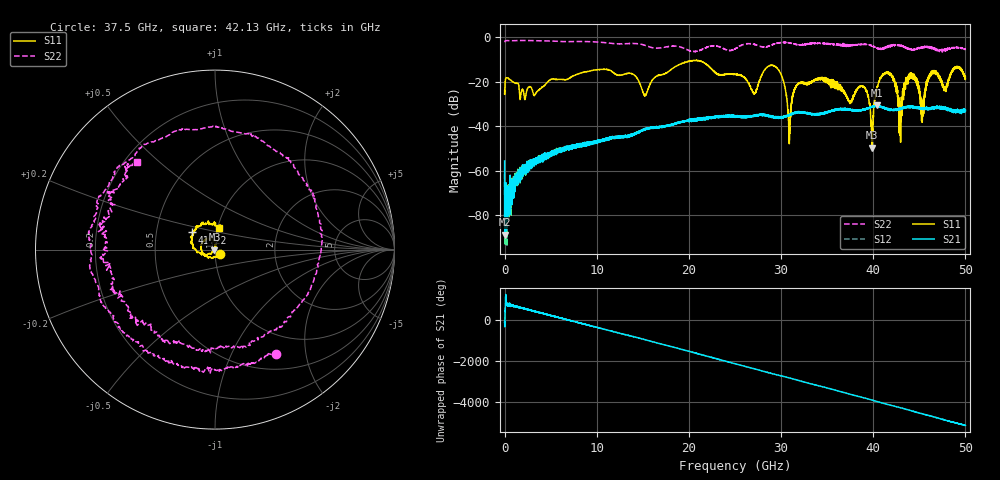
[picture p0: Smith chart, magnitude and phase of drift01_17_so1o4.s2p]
!Created with skrf (http://scikit-rf.org).
# Hz S RI R 50.0
!freq ReS11 ImS11 ReS21 ImS21 ReS12 ImS12 ReS22 ImS22
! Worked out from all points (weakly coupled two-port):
!   10001 points, 300 kHz to 50 GHz, reference 50 ohm
!   highest |S21| = -30.59 dB at 40.42 GHz (marker M1); lowest = -88.6 dB at 40.3 MHz (marker M2)
!   lowest |S11| = -49.5 dB at 39.88 GHz (marker M3), VSWR 1.01, Z = 49.7 - j0.0698 ohm
!   |S11| at or under -10 dB: start of sweep to end of sweep
!   |S22| runs from -6.6 to -1.4 dB; largest |S21 - S12| = 0.0042
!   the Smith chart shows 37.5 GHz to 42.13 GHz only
!   S11 on the Smith chart (normalised r, x): 37.5 GHz: 1.06, -0.05; 41.22 GHz: 0.76, +0.15; 42.13 GHz: 1.01, +0.25
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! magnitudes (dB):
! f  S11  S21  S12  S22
! 300 kHz  -23.9  -55.6  -61.3  -2.1
! 40.3 MHz  -21.4  -88.6  -76.7  -1.7
! 8.335 GHz  -15.9  -48.7  -47.9  -1.8
! 16.67 GHz  -17.0  -40.4  -40.4  -4.8
! 25 GHz  -16.6  -35.2  -35.4  -5.1
! 27.1 GHz  -25.4  -35.1  -35.3  -3.1
! 29.41 GHz  -13.1  -36.2  -36.0  -2.7
! 30.91 GHz  -46.1  -34.9  -35.0  -2.5
! 31.66 GHz  -21.7  -33.6  -33.7  -3.1
! 33.34 GHz  -19.8  -34.5  -34.4  -2.6
! 37.5 GHz  -28.9  -32.2  -32.5  -3.4
! 38.95 GHz  -22.1  -32.4  -32.5  -3.1
! 39.88 GHz  -49.5  -31.2  -31.1  -3.7
! 40.42 GHz  -22.2  -30.6  -30.9  -4.8
! 41.22 GHz  -16.0  -31.8  -31.7  -4.5
! 41.67 GHz  -16.2  -32.4  -32.4  -4.2
! 42.13 GHz  -18.1  -32.7  -32.6  -3.7
! 42.92 GHz  -33.4  -32.2  -32.1  -3.6
! 44.07 GHz  -15.9  -31.6  -31.1  -5.3
! 45.31 GHz  -36.3  -31.9  -31.9  -4.4
! 46.41 GHz  -14.9  -31.4  -31.8  -4.7
! 50 GHz  -17.9  -32.8  -32.4  -5.4
